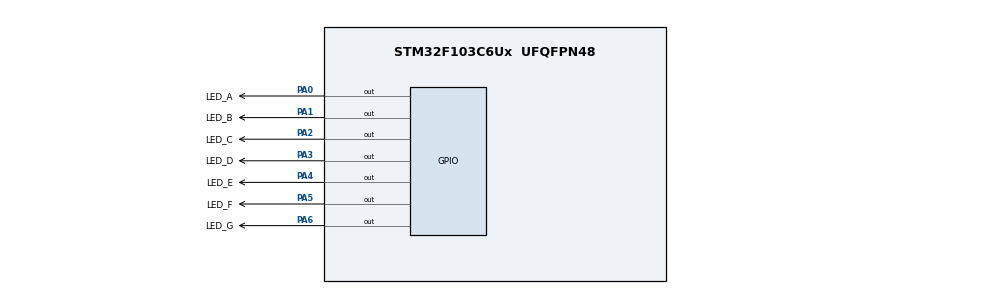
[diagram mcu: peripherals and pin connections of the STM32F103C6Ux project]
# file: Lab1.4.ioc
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Mcu.Family=STM32F1
Mcu.Name=STM32F103C6Ux
Mcu.Package=UFQFPN48
NVIC.PriorityGroup=NVIC_PRIORITYGROUP_4
PA0-WKUP.GPIO_Label=LED_A
PA0-WKUP.Signal=GPIO_Output
PA1.GPIO_Label=LED_B
PA1.Signal=GPIO_Output
PA2.GPIO_Label=LED_C
PA2.Signal=GPIO_Output
PA3.GPIO_Label=LED_D
PA3.Signal=GPIO_Output
PA4.GPIO_Label=LED_E
PA4.Signal=GPIO_Output
PA5.GPIO_Label=LED_F
PA5.Signal=GPIO_Output
PA6.GPIO_Label=LED_G
PA6.Signal=GPIO_Output
ProjectManager.HeapSize=0x200
ProjectManager.StackSize=0x400
ProjectManager.TargetToolchain=STM32CubeIDE
RCC.APB1Freq_Value=8000000
RCC.APB2Freq_Value=8000000
VP_SYS_VS_ND.Mode=No_Debug
board=custom

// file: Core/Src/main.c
/* USER CODE BEGIN Header */
/**
  ******************************************************************************
  * @file           : main.c
  * @brief          : Main program body
  ******************************************************************************
  * @attention
  *
  * <h2><center>&copy; Copyright (c) 2025 STMicroelectronics.
  * All rights reserved.</center></h2>
  *
  * This software component is licensed by ST under BSD 3-Clause license,
  * the "License"; You may not use this file except in compliance with the
  * License. You may obtain a copy of the License at:
  *                        opensource.org/licenses/BSD-3-Clause
  *
  ******************************************************************************
  */
/* USER CODE END Header */
#include "main.h"
#include "function.h"

void SystemClock_Config(void);
static void MX_GPIO_Init(void);

int main(void)
{
  /* USER CODE BEGIN 1 */
	void display7SEG(int num) {
		const uint8_t segmentMap[10][7] = {
			{1,1,1,1,1,1,0}, // 0
			{0,1,1,0,0,0,0}, // 1
			{1,1,0,1,1,0,1}, // 2
			{1,1,1,1,0,0,1}, // 3
			{0,1,1,0,0,1,1}, // 4
			{1,0,1,1,0,1,1}, // 5
			{1,0,1,1,1,1,1}, // 6
			{1,1,1,0,0,0,0}, // 7
			{1,1,1,1,1,1,1}, // 8
			{1,1,1,1,0,1,1}  // 9
		};

		if (num < 0 || num > 9) return;

		HAL_GPIO_WritePin(LED_A_GPIO_Port, LED_A_Pin, segmentMap[num][0] ? GPIO_PIN_RESET : GPIO_PIN_SET);
		HAL_GPIO_WritePin(LED_B_GPIO_Port, LED_B_Pin, segmentMap[num][1] ? GPIO_PIN_RESET : GPIO_PIN_SET);
		HAL_GPIO_WritePin(LED_C_GPIO_Port, LED_C_Pin, segmentMap[num][2] ? GPIO_PIN_RESET : GPIO_PIN_SET);
		HAL_GPIO_WritePin(LED_D_GPIO_Port, LED_D_Pin, segmentMap[num][3] ? GPIO_PIN_RESET : GPIO_PIN_SET);
		HAL_GPIO_WritePin(LED_E_GPIO_Port, LED_E_Pin, segmentMap[num][4] ? GPIO_PIN_RESET : GPIO_PIN_SET);
		HAL_GPIO_WritePin(LED_F_GPIO_Port, LED_F_Pin, segmentMap[num][5] ? GPIO_PIN_RESET : GPIO_PIN_SET);
		HAL_GPIO_WritePin(LED_G_GPIO_Port, LED_G_Pin, segmentMap[num][6] ? GPIO_PIN_RESET : GPIO_PIN_SET);

	}
  /* USER CODE END 1 */

  /* MCU Configuration--------------------------------------------------------*/

  /* Reset of all peripherals, Initializes the Flash interface and the Systick. */
  HAL_Init();

  /* Configure the system clock */
  SystemClock_Config();

  /* Initialize all configured peripherals */
  MX_GPIO_Init();

  /* Infinite loop */
  /* USER CODE BEGIN WHILE */
  int counter = 0;
  while (1)
  {
	  if(counter >= 10) counter = 0;
	  display7SEG(counter++);
	  HAL_Delay(1000);
    /* USER CODE END WHILE */

  }
}

void SystemClock_Config(void)
{
  RCC_OscInitTypeDef RCC_OscInitStruct = {0};
  RCC_ClkInitTypeDef RCC_ClkInitStruct = {0};

  /** Initializes the RCC Oscillators according to the specified parameters
  * in the RCC_OscInitTypeDef structure.
  */
  RCC_OscInitStruct.OscillatorType = RCC_OSCILLATORTYPE_HSI;
  RCC_OscInitStruct.HSIState = RCC_HSI_ON;
  RCC_OscInitStruct.HSICalibrationValue = RCC_HSICALIBRATION_DEFAULT;
  RCC_OscInitStruct.PLL.PLLState = RCC_PLL_NONE;
  if (HAL_RCC_OscConfig(&RCC_OscInitStruct) != HAL_OK)
  {
    Error_Handler();
  }
  /** Initializes the CPU, AHB and APB buses clocks
  */
  RCC_ClkInitStruct.ClockType = RCC_CLOCKTYPE_HCLK|RCC_CLOCKTYPE_SYSCLK
                              |RCC_CLOCKTYPE_PCLK1|RCC_CLOCKTYPE_PCLK2;
  RCC_ClkInitStruct.SYSCLKSource = RCC_SYSCLKSOURCE_HSI;
  RCC_ClkInitStruct.AHBCLKDivider = RCC_SYSCLK_DIV1;
  RCC_ClkInitStruct.APB1CLKDivider = RCC_HCLK_DIV1;
  RCC_ClkInitStruct.APB2CLKDivider = RCC_HCLK_DIV1;

  if (HAL_RCC_ClockConfig(&RCC_ClkInitStruct, FLASH_LATENCY_0) != HAL_OK)
  {
    Error_Handler();
  }
}

static void MX_GPIO_Init(void)
{
  GPIO_InitTypeDef GPIO_InitStruct = {0};

  /* GPIO Ports Clock Enable */
  __HAL_RCC_GPIOA_CLK_ENABLE();

  /*Configure GPIO pin Output Level */
  HAL_GPIO_WritePin(GPIOA, LED_A_Pin|LED_B_Pin|LED_C_Pin|LED_D_Pin
                          |LED_E_Pin|LED_F_Pin|LED_G_Pin, GPIO_PIN_RESET);

  /*Configure GPIO pins : LED_A_Pin LED_B_Pin LED_C_Pin LED_D_Pin
                           LED_E_Pin LED_F_Pin LED_G_Pin */
  GPIO_InitStruct.Pin = LED_A_Pin|LED_B_Pin|LED_C_Pin|LED_D_Pin
                          |LED_E_Pin|LED_F_Pin|LED_G_Pin;
  GPIO_InitStruct.Mode = GPIO_MODE_OUTPUT_PP;
  GPIO_InitStruct.Pull = GPIO_NOPULL;
  GPIO_InitStruct.Speed = GPIO_SPEED_FREQ_LOW;
  HAL_GPIO_Init(GPIOA, &GPIO_InitStruct);

}

void Error_Handler(void)
{
  __disable_irq();
  while (1)
  {
  }
}

/************************ (C) COPYRIGHT STMicroelectronics *****END OF FILE****/
